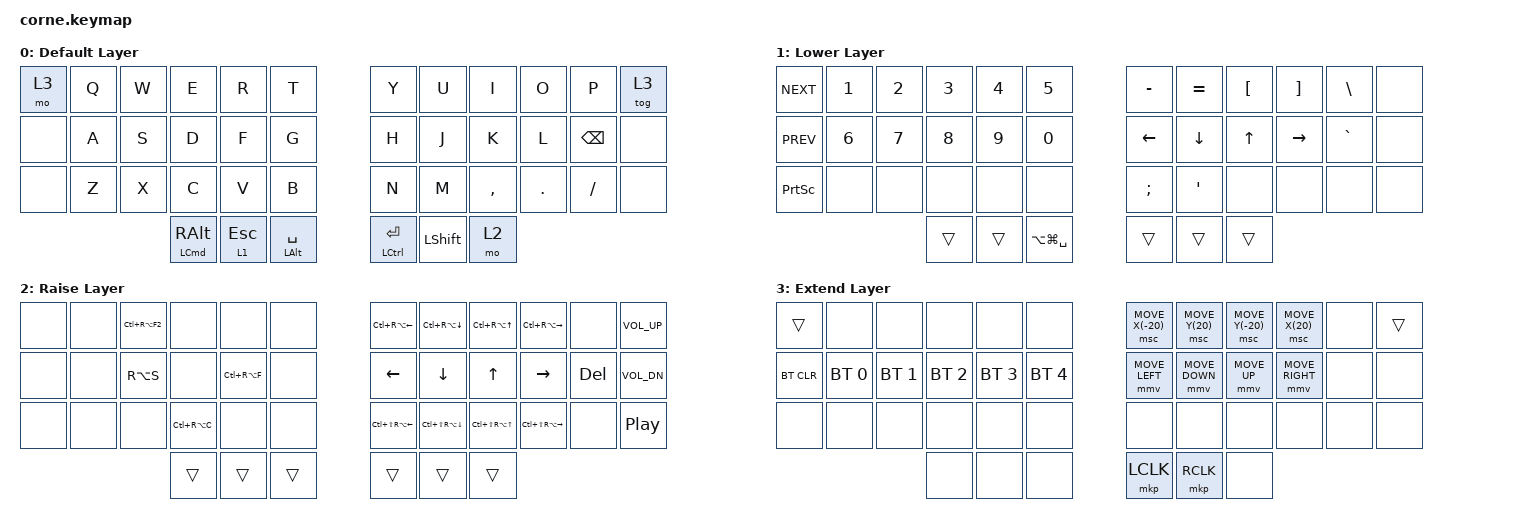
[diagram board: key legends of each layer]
/*
 * Copyright (c) 2020 The ZMK Contributors
 *
 * SPDX-License-Identifier: MIT
 */

#define ZMK_POINTING_DEFAULT_MOVE_VAL 1500  // default: 600
#define ZMK_POINTING_DEFAULT_SCRL_VAL 20    // default: 10

#include <behaviors.dtsi>
#include <dt-bindings/zmk/bt.h>
#include <dt-bindings/zmk/keys.h>
#include <dt-bindings/zmk/pointing.h>

/ {
    behaviors {
        mtl: momentary_toggle_layer {
            compatible = "zmk,behavior-hold-tap";
            bindings = <&mo>, <&tog>;

            #binding-cells = <2>;
            tapping-term-ms = <200>;
        };
    };

    combos {
        compatible = "zmk,combos";

        combo_tab {
            bindings = <&kp TAB>;
            key-positions = <1 2>;
            layers = <0>;
        };
    };

    keymap {
        compatible = "zmk,keymap";

        default_layer {
            display-name = "Default Layer";

            // -----------------------------------------------------------------------------------------
            // |  TAB |  Q  |  W  |  E  |  R  |  T  |   |  Y  |  U   |  I  |  O  |  P  | BSPC |
            // | CTRL |  A  |  S  |  D  |  F  |  G  |   |  H  |  J   |  K  |  L  |  ;  |  '   |
            // | SHFT |  Z  |  X  |  C  |  V  |  B  |   |  N  |  M   |  ,  |  .  |  /  | ESC  |
            //                    | GUI | LWR | SPC |   | ENT | RSE  | ALT |

            bindings = <
&mo 3  &kp Q  &kp W  &kp E                       &kp R      &kp T                 &kp Y                   &kp U       &kp I      &kp O    &kp P          &tog 3
&none  &kp A  &kp S  &kp D                       &kp F      &kp G                 &kp H                   &kp J       &kp K      &kp L    &kp BACKSPACE  &none
&none  &kp Z  &kp X  &kp C                       &kp V      &kp B                 &kp N                   &kp M       &kp COMMA  &kp DOT  &kp SLASH      &none
                     &mt LEFT_COMMAND RIGHT_ALT  &lt 1 ESC  &mt LEFT_ALT SPACE    &mt LEFT_CONTROL ENTER  &kp LSHIFT  &mo 2
            >;
        };

        lower_layer {
            display-name = "Lower Layer";

            // -----------------------------------------------------------------------------------------
            // |  TAB |  !  |  @  |  #  |  $  |  %  |   |  ^  |  &  |  *  |  (  |  )  | BSPC |
            // | CTRL |     |     |     |     |     |   |  -  |  =  |  [  |  ]  |  \  |  `   |
            // | SHFT |     |     |     |     |     |   |  _  |  +  |  {  |  }  | "|" |  ~   |
            //                    | GUI |     | SPC |   | ENT |     | ALT |

            bindings = <
&kp C_NEXT       &kp N1  &kp N2  &kp N3  &kp N4  &kp N5               &kp MINUS       &kp EQUAL         &kp LEFT_BRACKET  &kp RIGHT_BRACKET  &kp BACKSLASH  &none
&kp C_PREV       &kp N6  &kp N7  &kp N8  &kp N9  &kp N0               &kp LEFT_ARROW  &kp DOWN_ARROW    &kp UP_ARROW      &kp RIGHT_ARROW    &kp GRAVE      &none
&kp PRINTSCREEN  &none   &none   &none   &none   &none                &kp SEMI        &kp SINGLE_QUOTE  &none             &none              &none          &none
                                 &trans  &trans  &kp LA(LG(SPACE))    &trans          &trans            &trans
            >;
        };

        raise_layer {
            display-name = "Raise Layer";

            // -----------------------------------------------------------------------------------------
            // |  TAB |  1  |  2  |  3  |  4  |  5  |   |  6  |  7  |  8  |  9  |  0  | BSPC |
            // | BTCLR| BT1 | BT2 | BT3 | BT4 | BT5 |   | LFT | DWN |  UP | RGT |     |      |
            // | SHFT |     |     |     |     |     |   |     |     |     |     |     |      |
            //                    | GUI |     | SPC |   | ENT |     | ALT |

            bindings = <
&none  &none  &kp LC(RA(F2))  &none          &none          &none     &kp LC(RA(LEFT_ARROW))      &kp LC(RA(DOWN_ARROW))      &kp LC(RA(UP_ARROW))      &kp LC(RA(RIGHT_ARROW))      &none    &kp C_VOL_UP
&none  &none  &kp RA(S)       &none          &kp LC(RA(F))  &none     &kp LEFT_ARROW              &kp DOWN_ARROW              &kp UP_ARROW              &kp RIGHT_ARROW              &kp DEL  &kp C_VOL_DN
&none  &none  &none           &kp LC(RA(C))  &none          &none     &kp LC(LS(RA(LEFT_ARROW)))  &kp LC(LS(RA(DOWN_ARROW)))  &kp LC(LS(RA(UP_ARROW)))  &kp LC(LS(RA(RIGHT_ARROW)))  &none    &kp C_PLAY_PAUSE
                              &trans         &trans         &trans    &trans                      &trans                      &trans
            >;
        };

        extend_layer {
            display-name = "Extend Layer";
            bindings = <
&trans      &none         &none         &none         &none         &none           &msc MOVE_X(-20)  &msc MOVE_Y(20)  &msc MOVE_Y(-20)  &msc MOVE_X(20)  &none  &trans
&bt BT_CLR  &bt BT_SEL 0  &bt BT_SEL 1  &bt BT_SEL 2  &bt BT_SEL 3  &bt BT_SEL 4    &mmv MOVE_LEFT    &mmv MOVE_DOWN   &mmv MOVE_UP      &mmv MOVE_RIGHT  &none  &none
&none       &none         &none         &none         &none         &none           &none             &none            &none             &none            &none  &none
                                        &none         &none         &none           &mkp LCLK         &mkp RCLK        &none
            >;
        };
    };
};
